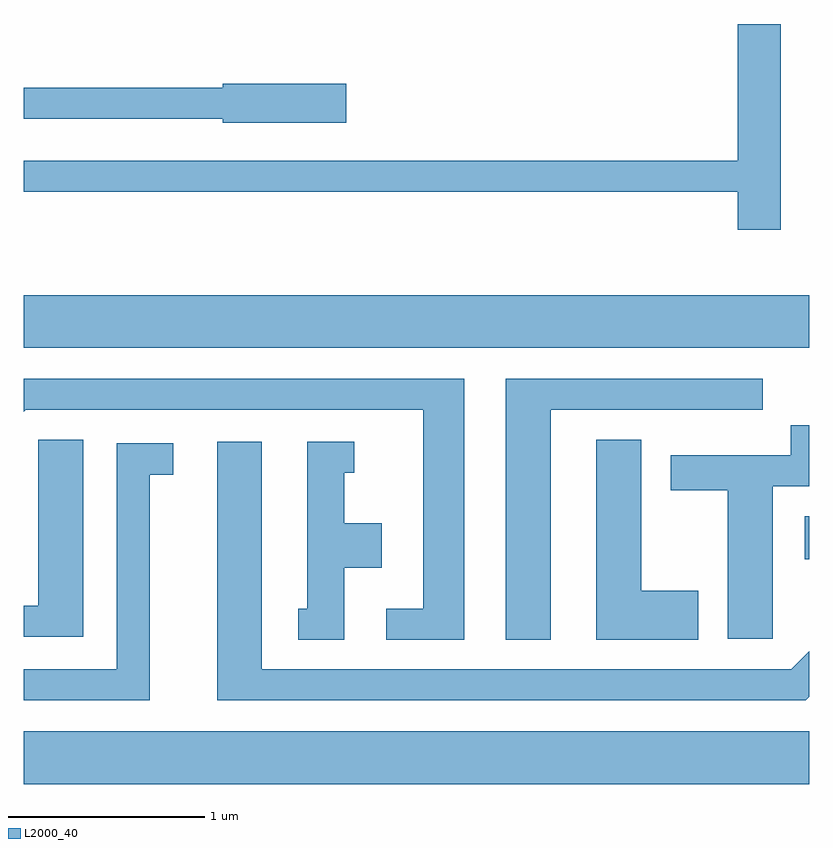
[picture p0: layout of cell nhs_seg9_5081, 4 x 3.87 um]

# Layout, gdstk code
import gdstk
lib = gdstk.Library(unit=1e-6, precision=1e-09)
def R(c, l, rs):  # rectangles x0, y0, x1, y1
    for r in rs: c.add(gdstk.rectangle(r[:2], r[2:], *l))
def P(c, l, *ps):  # polygons
    for p in ps: c.add(gdstk.Polygon(p, *l))
L2000_40 = (2000, 40)

nhs_seg9_5081 = lib.new_cell('nhs_seg9_5081')
R(nhs_seg9_5081, L2000_40, [(335.611,1958.516,339.611,1958.784), (339.586,1959.661,339.611,1959.879), (335.611,1960.736,339.611,1961.004)])
P(nhs_seg9_5081, L2000_40, [(339.464,1962.384),(339.246,1962.384),(339.246,1961.689),(335.611,1961.689),(335.611,1961.531),(339.246,1961.531),(339.246,1961.336),(339.464,1961.336)],
  [(337.254,1962.079),(336.626,1962.079),(336.626,1962.059),(335.611,1962.059),(335.611,1961.901),(336.626,1961.901),(336.626,1961.881),(337.254,1961.881)],
  [(337.854,1960.579),(335.611,1960.579),(335.611,1960.41),(335.622,1960.421),(337.646,1960.421),(337.646,1959.409),(337.458,1959.409),(337.458,1959.251),(337.854,1959.251)],
  [(338.294,1960.421),(339.373,1960.421),(339.373,1960.579),(338.066,1960.579),(338.066,1959.251),(338.294,1959.251)],
  [(339.424,1960.031),(339.611,1960.031),(339.611,1960.343),(339.516,1960.343),(339.516,1960.189),(338.906,1960.189),(338.906,1960.011),(339.196,1960.011),(339.196,1959.256),(339.424,1959.256)],
  [(339.044,1959.499),(338.754,1959.499),(338.754,1960.269),(338.526,1960.269),(338.526,1959.251),(339.044,1959.251)],
  [(335.914,1960.269),(335.686,1960.269),(335.686,1959.424),(335.611,1959.424),(335.611,1959.266),(335.914,1959.266)],
  [(339.611,1958.96),(339.611,1959.191),(339.519,1959.099),(336.824,1959.099),(336.824,1960.259),(336.596,1960.259),(336.596,1958.941),(339.592,1958.941)],
  [(337.244,1959.616),(337.434,1959.616),(337.434,1959.844),(337.244,1959.844),(337.244,1960.101),(337.293,1960.101),(337.293,1960.259),(337.056,1960.259),(337.056,1959.409),(337.008,1959.409),(337.008,1959.251),(337.244,1959.251)],
  [(336.254,1960.091),(336.373,1960.091),(336.373,1960.249),(336.086,1960.249),(336.086,1959.099),(335.611,1959.099),(335.611,1958.941),(336.254,1958.941)])

lib.write_gds('nhs_seg9_5081.gds')
